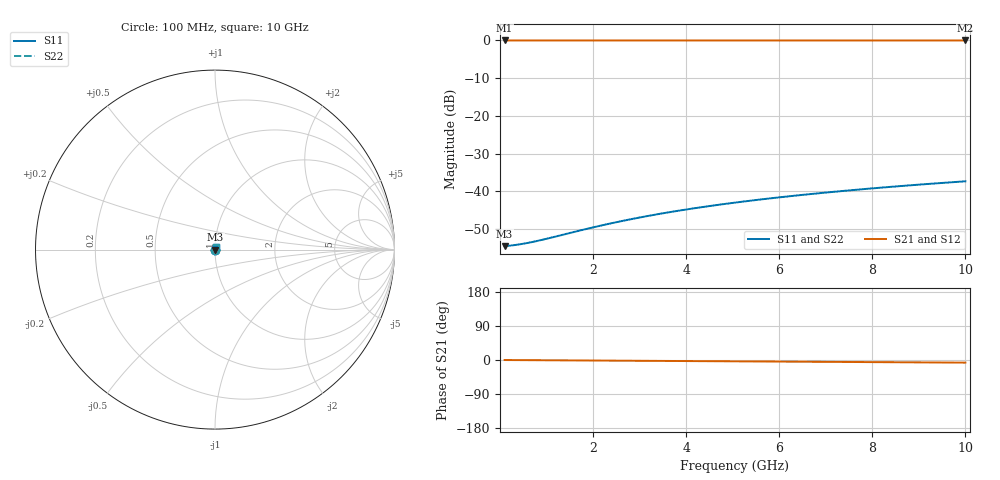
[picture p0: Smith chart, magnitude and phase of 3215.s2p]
# Hz S RI R 50.00
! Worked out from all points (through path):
!   100 points, 100 MHz to 10 GHz, reference 50 ohm
!   highest |S21| = -0.02 dB at 100 MHz (marker M1); lowest = 0.0 dB at 10 GHz (marker M2)
!   lowest |S11| = -54.5 dB at 100 MHz (marker M3), VSWR 1.00, Z = 50.2 + j0.0133 ohm
!   |S11| at or under -10 dB: start of sweep to end of sweep
!   |S22| runs from -54.5 to -37.3 dB; largest |S21 - S12| = 0
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1e8  0.00187 0.000133  0.9981 -0.00121  0.9981 -0.00121  0.00187 0.000133
3e8  0.00189 0.000398  0.9981 -0.00364  0.9981 -0.00364  0.00189 0.000398
4e8  0.0019 0.00053  0.9981 -0.00485  0.9981 -0.00485  0.0019 0.00053
5e8  0.00191 0.000663  0.9981 -0.00607  0.9981 -0.00607  0.00191 0.000663
7e8  0.00192 0.000928  0.998 -0.00849  0.998 -0.00849  0.00192 0.000928
1e9  0.00194 0.00132  0.998 -0.0121  0.998 -0.0121  0.00194 0.00132
1.8e9  0.002 0.00238  0.9978 -0.0218  0.9978 -0.0218  0.002 0.00238
2.2e9  0.00204 0.00291  0.9977 -0.0267  0.9977 -0.0267  0.00204 0.00291
2.6e9  0.00208 0.00344  0.9975 -0.0315  0.9975 -0.0315  0.00208 0.00344
3e9  0.00212 0.00397  0.9973 -0.0364  0.9973 -0.0364  0.00212 0.00397
3.4e9  0.00217 0.0045  0.9971 -0.0412  0.9971 -0.0412  0.00217 0.0045
3.8e9  0.00222 0.00502  0.9969 -0.0461  0.9969 -0.0461  0.00222 0.00502
4.2e9  0.00228 0.00555  0.9966 -0.0509  0.9966 -0.0509  0.00228 0.00555
4.6e9  0.00234 0.00607  0.9964 -0.0558  0.9964 -0.0558  0.00234 0.00607
5.1e9  0.00243 0.00673  0.996 -0.0618  0.996 -0.0618  0.00243 0.00673
5.5e9  0.0025 0.00725  0.9957 -0.0667  0.9957 -0.0667  0.0025 0.00725
5.9e9  0.00258 0.00778  0.9953 -0.0715  0.9953 -0.0715  0.00258 0.00778
6.7e9  0.00275 0.00882  0.9946 -0.0812  0.9946 -0.0812  0.00275 0.00882
7.5e9  0.00295 0.00986  0.9937 -0.0909  0.9937 -0.0909  0.00295 0.00986
8.4e9  0.00319 0.011  0.9926 -0.1018  0.9926 -0.1018  0.00319 0.011
9.2e9  0.00343 0.0121  0.9915 -0.1114  0.9915 -0.1114  0.00343 0.0121
1e10  0.00369 0.0131  0.9904 -0.1211  0.9904 -0.1211  0.00369 0.0131
